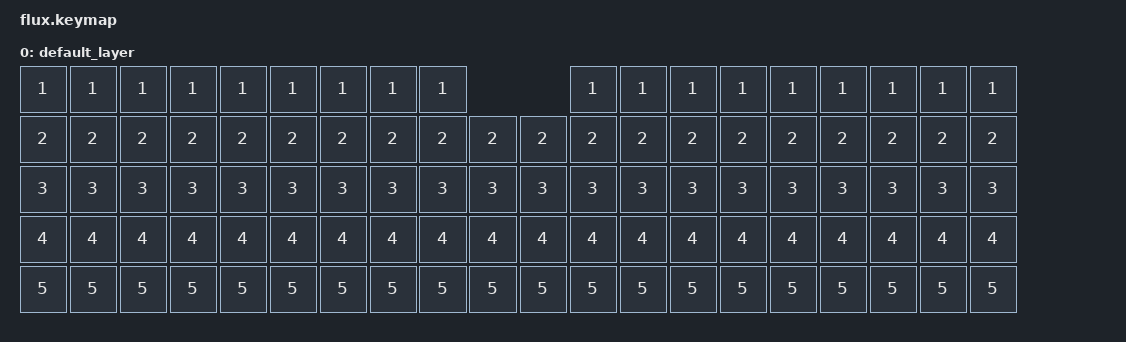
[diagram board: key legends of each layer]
#include <behaviors.dtsi>
#include <dt-bindings/zmk/keys.h>

 #define DEFAULT 0

/ {
  keymap 
  {
      compatible = "zmk,keymap";

      default_layer {
          bindings = <
          &kp 1   &kp 1   &kp 1   &kp 1   &kp 1   &kp 1   &kp 1   &kp 1   &kp 1                   &kp 1   &kp 1   &kp 1   &kp 1   &kp 1   &kp 1   &kp 1   &kp 1   &kp 1
          &kp 2   &kp 2   &kp 2   &kp 2   &kp 2   &kp 2   &kp 2   &kp 2   &kp 2   &kp 2   &kp 2   &kp 2   &kp 2   &kp 2   &kp 2   &kp 2   &kp 2   &kp 2   &kp 2   &kp 2
          &kp 3   &kp 3   &kp 3   &kp 3   &kp 3   &kp 3   &kp 3   &kp 3   &kp 3   &kp 3   &kp 3   &kp 3   &kp 3   &kp 3   &kp 3   &kp 3   &kp 3   &kp 3   &kp 3   &kp 3
          &kp 4   &kp 4   &kp 4   &kp 4   &kp 4   &kp 4   &kp 4   &kp 4   &kp 4   &kp 4   &kp 4   &kp 4   &kp 4   &kp 4   &kp 4   &kp 4   &kp 4   &kp 4   &kp 4   &kp 4
          &kp 5   &kp 5   &kp 5   &kp 5   &kp 5   &kp 5   &kp 5   &kp 5   &kp 5   &kp 5   &kp 5   &kp 5   &kp 5   &kp 5   &kp 5   &kp 5   &kp 5   &kp 5   &kp 5   &kp 5

          >;
      }
  }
